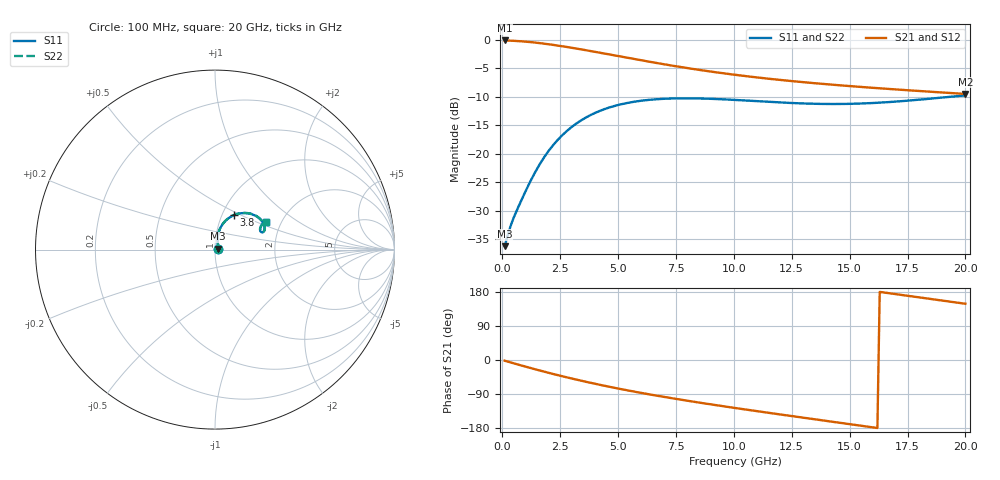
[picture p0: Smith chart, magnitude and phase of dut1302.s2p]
! Touchstone file exported from HFSS 2024.1.0
!  File:  C:/UserFiles/LocalFiles/RDL_TSV_Batchsim/temp_RDL_TSV_1302_1780382430.aedt
!  Generated:  02:55:30 PM Jun  2, 2026
!  Design:  RDL_TSV
!  Project:  temp_RDL_TSV_1302_1780382430
!  Setup:  Setup1
!  Solution:  Sweep
! Variables:
!  dtsv = 6.54um
!  hbump = 3um
!  htsv = 56.92um
!  ldown = 446.84um
!  lrdl = 490.31um
!  p = 40
!  p1 = 59.9um
!  rhole = 10um
!  subl = 3301.76um
!  t = 450um
!  tdown = 3.03um
!  trdl = 3.43um
!  viad = 10um
!  wdown = 26.88um
!  wrdl = 27.87um
!  xbump = 18um
# GHz S MA R 50.000000
! Terminal data exported
! Port[1] = TM1_1_T1
! Port[2] = TM1_4_T1
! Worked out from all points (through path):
!   200 points, 100 MHz to 20 GHz, reference 50 ohm
!   highest |S21| = -0.13 dB at 100 MHz (marker M1); lowest = -9.5 dB at 20 GHz (marker M2)
!   group delay of S21, straight-line fit = 27.6 ps
!   lowest |S11| = -36.2 dB at 100 MHz (marker M3), VSWR 1.03, Z = 51.5 + j0.527 ohm
!   |S11| at or under -10 dB: start of sweep to 19.39 GHz
!   |S22| runs from -36.2 to -9.7 dB; largest |S21 - S12| = 1.1e-14
!   S11 on the Smith chart (normalised r, x): 100 MHz: 1.03, +0.01; 3.8 GHz: 1.14, +0.46; 20 GHz: 1.67, +0.58
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0.1  0.01546 19.3  0.9852 -1.8  0.9852 -1.8  0.01546 19.3
! Gamma 0 0 0 0
! Port Impedance 50 0 50 0
0.4  0.02455 48.0  0.9798 -7.2  0.9798 -7.2  0.02454 48.0
0.6  0.03095 57.6  0.975 -10.6  0.975 -10.6  0.03094 57.7
1.2  0.05661 74.9  0.9539 -20.9  0.9539 -20.9  0.05665 75.1
1.7  0.08616 78.4  0.9294 -29.1  0.9294 -29.1  0.0863 78.5
2.1  0.1125 77.3  0.9066 -35.4  0.9066 -35.4  0.1127 77.4
2.5  0.1393 74.4  0.882 -41.5  0.882 -41.5  0.1397 74.6
3  0.1718 69.8  0.8497 -48.9  0.8497 -48.9  0.1723 69.9
3.5  0.2016 64.6  0.8165 -55.9  0.8165 -55.9  0.2022 64.7
3.8  0.2177 61.4  0.7966 -60.0  0.7966 -60.0  0.2184 61.5
4.4  0.2456 55.2  0.7571 -67.9  0.7571 -67.9  0.2465 55.3
5.1  0.2705 48.5  0.7128 -76.5  0.7128 -76.5  0.2716 48.6
5.9  0.2899 41.7  0.6657 -85.8  0.6657 -85.8  0.2911 41.8
6.8  0.3019 35.2  0.618 -95.5  0.618 -95.5  0.3033 35.3
8.3  0.3058 27.2  0.5516 -110.5  0.5516 -110.5  0.3074 27.3
10.1  0.2961 21.7  0.4909 -127.1  0.4909 -127.1  0.2977 21.7
11.7  0.2838 20.0  0.4503 -141.1  0.4503 -141.1  0.2854 20.0
13.4  0.2744 21.0  0.4171 -155.7  0.4171 -155.7  0.276 21.0
15  0.2738 23.6  0.392 -169.3  0.392 -169.3  0.2752 23.5
16.7  0.2838 26.6  0.3698 176.3  0.3698 176.3  0.285 26.4
18.3  0.3015 28.4  0.3517 162.7  0.3517 162.7  0.3026 28.2
20  0.3249 28.7  0.3345 148.4  0.3345 148.4  0.3258 28.6
